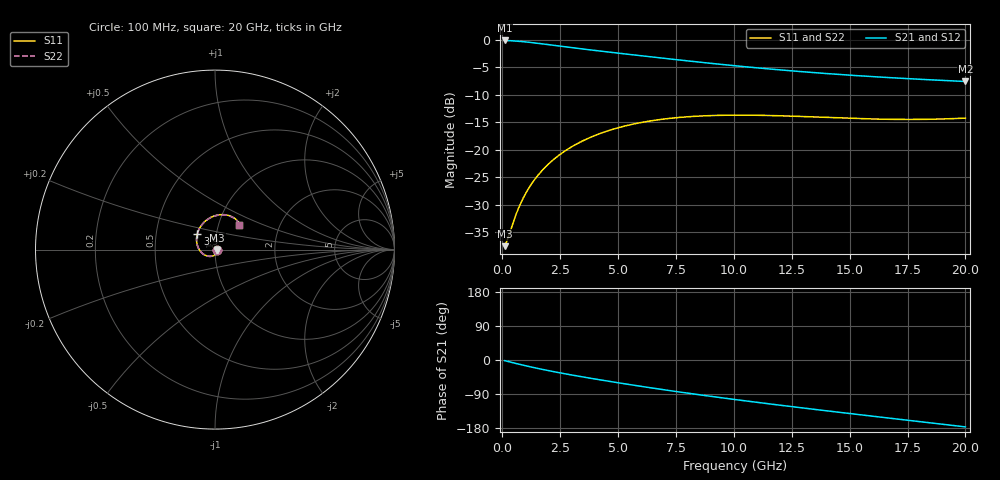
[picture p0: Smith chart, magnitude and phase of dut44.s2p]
! Touchstone file exported from HFSS 2024.1.0
!  File:  C:/UserFiles/LocalFiles/RDL_TSV_Batchsim/temp_RDL_TSV_44_1779405170.aedt
!  Generated:  07:26:50 AM May 22, 2026
!  Design:  RDL_TSV
!  Project:  temp_RDL_TSV_44_1779405170
!  Setup:  Setup1
!  Solution:  Sweep
! Variables:
!  dtsv = 11.71um
!  hbump = 3um
!  htsv = 75.51um
!  ldown = 583.51um
!  lrdl = 173.34um
!  p = 40
!  p1 = 40.24um
!  rhole = 10um
!  subl = 2443.89um
!  t = 450um
!  tdown = 3.32um
!  trdl = 2.5um
!  viad = 10um
!  wdown = 25.69um
!  wrdl = 21.16um
!  xbump = 18um
# GHz S MA R 50.000000
! Terminal data exported
! Port[1] = TM1_1_T1
! Port[2] = TM1_4_T1
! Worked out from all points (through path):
!   200 points, 100 MHz to 20 GHz, reference 50 ohm
!   highest |S21| = -0.12 dB at 100 MHz (marker M1); lowest = -7.6 dB at 20 GHz (marker M2)
!   group delay of S21, straight-line fit = 23.3 ps
!   lowest |S11| = -37.6 dB at 100 MHz (marker M3), VSWR 1.03, Z = 51.3 - j0.404 ohm
!   |S11| at or under -10 dB: start of sweep to end of sweep
!   |S22| runs from -37.6 to -13.8 dB; largest |S21 - S12| = 1.3e-14
!   S11 on the Smith chart (normalised r, x): 100 MHz: 1.03, -0.01; 3.9 GHz: 0.81, +0.14; 20 GHz: 1.26, +0.36
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0.1  0.01321 -17.4  0.9867 -1.6  0.9867 -1.6  0.01321 -17.4
! Gamma 0 0 0 0
! Port Impedance 50 0 50 0
0.2  0.01475 -33.8  0.9851 -3.2  0.9851 -3.2  0.01475 -33.8
0.6  0.02594 -82.7  0.9739 -9.3  0.9739 -9.3  0.02596 -82.7
0.8  0.03265 -99.5  0.9663 -12.2  0.9663 -12.2  0.03267 -99.4
1.1  0.04305 -119.8  0.9526 -16.5  0.9526 -16.5  0.04306 -119.7
1.4  0.05353 -136.7  0.937 -20.5  0.937 -20.5  0.05351 -136.5
1.8  0.06734 -155.8  0.9146 -25.7  0.9146 -25.7  0.06726 -155.6
2.3  0.0841 -175.7  0.8863 -31.7  0.8863 -31.7  0.08391 -175.5
2.9  0.1032 164.5  0.8539 -38.5  0.8539 -38.5  0.1028 164.7
3.5  0.1209 148.0  0.8237 -44.9  0.8237 -44.9  0.1204 148.2
3.9  0.1319 138.5  0.8047 -49.1  0.8047 -49.1  0.1313 138.7
4.6  0.1493 124.1  0.7733 -56.1  0.7733 -56.1  0.1484 124.3
5.3  0.1642 111.9  0.7438 -63.0  0.7438 -63.0  0.1632 112.0
6.8  0.1878 91.1  0.6853 -76.9  0.6853 -76.9  0.1866 91.1
8.4  0.2016 74.7  0.6298 -90.8  0.6298 -90.8  0.2002 74.7
10.1  0.2061 62.0  0.579 -104.7  0.579 -104.7  0.2047 62.0
11.7  0.2042 53.6  0.5389 -117.1  0.5389 -117.1  0.2027 53.5
13.4  0.1986 47.7  0.5038 -129.7  0.5038 -129.7  0.1972 47.6
15  0.1929 44.8  0.4766 -141.2  0.4766 -141.2  0.1916 44.6
16.7  0.1888 43.9  0.4529 -153.3  0.4529 -153.3  0.1876 43.6
18.3  0.1888 44.4  0.4342 -164.6  0.4342 -164.6  0.1875 44.0
20  0.1937 45.5  0.4175 -176.5  0.4175 -176.5  0.1923 45.1
